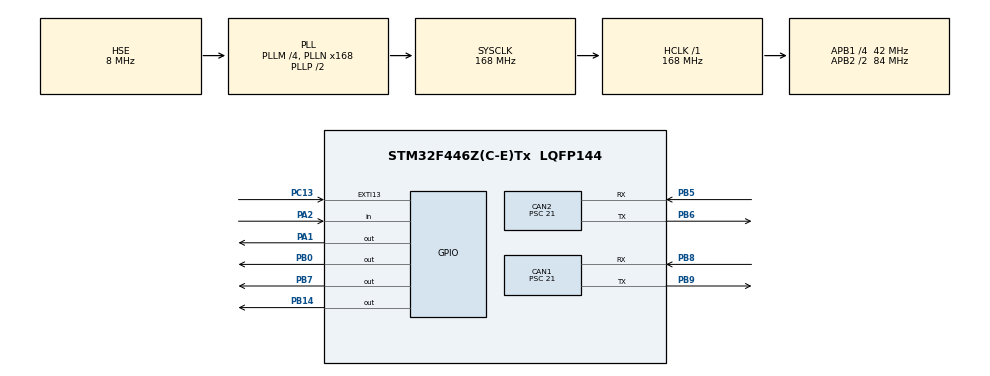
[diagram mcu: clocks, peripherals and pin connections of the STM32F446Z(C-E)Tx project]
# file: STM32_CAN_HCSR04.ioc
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CAN1.BS1=CAN_BS1_4TQ
CAN1.BS2=CAN_BS2_3TQ
CAN1.CalculateBaudRate=250000
CAN1.CalculateTimeBit=4000
CAN1.CalculateTimeQuantum=500.0
CAN1.Prescaler=21
CAN2.BS1=CAN_BS1_5TQ
CAN2.BS2=CAN_BS2_2TQ
CAN2.CalculateBaudRate=250000
CAN2.CalculateTimeBit=4000
CAN2.CalculateTimeQuantum=500.0
CAN2.Prescaler=21
Mcu.Family=STM32F4
Mcu.Name=STM32F446Z(C-E)Tx
Mcu.Package=LQFP144
NVIC.PriorityGroup=NVIC_PRIORITYGROUP_4
PA1.Signal=GPIO_Output
PA13.Mode=Serial_Wire
PA13.Signal=SYS_JTMS-SWDIO
PA14.Mode=Serial_Wire
PA14.Signal=SYS_JTCK-SWCLK
PA2.Signal=GPIO_Input
PB0.Signal=GPIO_Output
PB14.Signal=GPIO_Output
PB5.Mode=CAN_Activate
PB5.Signal=CAN2_RX
PB6.Mode=CAN_Activate
PB6.Signal=CAN2_TX
PB7.Signal=GPIO_Output
PB8.Mode=CAN_Activate
PB8.Signal=CAN1_RX
PB9.Mode=CAN_Activate
PB9.Signal=CAN1_TX
PC13.Signal=GPXTI13
PH0-OSC_IN.Mode=HSE-External-Oscillator
PH0-OSC_IN.Signal=RCC_OSC_IN
PH1-OSC_OUT.Mode=HSE-External-Oscillator
PH1-OSC_OUT.Signal=RCC_OSC_OUT
ProjectManager.HeapSize=0x200
ProjectManager.StackSize=0x400
ProjectManager.TargetToolchain=STM32CubeIDE
RCC.AHBFreq_Value=168000000
RCC.APB1CLKDivider=RCC_HCLK_DIV4
RCC.APB1Freq_Value=42000000
RCC.APB1TimFreq_Value=84000000
RCC.APB2CLKDivider=RCC_HCLK_DIV2
RCC.APB2Freq_Value=84000000
RCC.APB2TimFreq_Value=168000000
RCC.CortexFreq_Value=168000000
RCC.HCLKFreq_Value=168000000
RCC.HSE_VALUE=8000000
RCC.PLLM=4
RCC.PLLN=168
RCC.PLLSourceVirtual=RCC_PLLSOURCE_HSE
RCC.SYSCLKFreq_VALUE=168000000
RCC.SYSCLKSource=RCC_SYSCLKSOURCE_PLLCLK
RCC.USBFreq_Value=168000000
RCC.VCOOutputFreq_Value=336000000
board=custom

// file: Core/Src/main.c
/* USER CODE BEGIN Header */
/**
  ******************************************************************************
  * @file           : main.c
  * @brief          : Main program body
  ******************************************************************************
  * @attention
  *
  * Copyright (c) 2024 STMicroelectronics.
  * All rights reserved.
  *
  * This software is licensed under terms that can be found in the LICENSE file
  * in the root directory of this software component.
  * If no LICENSE file comes with this software, it is provided AS-IS.
  *
  ******************************************************************************
  */
/* USER CODE END Header */
#include "main.h"

/* USER CODE BEGIN Includes */
#include  "dwt_stm32_delay.h"

/* USER CODE END Includes */

CAN_HandleTypeDef hcan1;
CAN_HandleTypeDef hcan2;

void SystemClock_Config(void);
static void MX_GPIO_Init(void);
static void MX_CAN2_Init(void);
static void MX_CAN1_Init(void);

/* USER CODE BEGIN 0 */
CAN_TxHeaderTypeDef TxTransmitte;

uint32_t mTxMailbox;
uint32_t sensor_time;
uint32_t distance[8];
uint8_t Giden_data[8];
CAN_FilterTypeDef sFilterConfig;

uint32_t Read_HCSR04()
{
	uint32_t local_time = 0;

	HAL_GPIO_WritePin(GPIOA, GPIO_PIN_1, GPIO_PIN_SET);
	DWT_Delay_us(10);
	HAL_GPIO_WritePin(GPIOA, GPIO_PIN_1, GPIO_PIN_RESET);

	while(! (HAL_GPIO_ReadPin(GPIOA, GPIO_PIN_2)));

	while(HAL_GPIO_ReadPin(GPIOA, GPIO_PIN_2))
	{
		local_time ++;
		DWT_Delay_us(1);
	}
	return local_time * 2;
}

/* USER CODE END 0 */

int main(void)
{

  /* MCU Configuration--------------------------------------------------------*/

  /* Reset of all peripherals, Initializes the Flash interface and the Systick. */
  HAL_Init();

  /* Configure the system clock */
  SystemClock_Config();

  /* Initialize all configured peripherals */
  MX_GPIO_Init();
  MX_CAN2_Init();
  MX_CAN1_Init();
  /* USER CODE BEGIN 2 */
  HAL_CAN_Start(&hcan2);

  TxTransmitte.StdId =  0x601;
  TxTransmitte.RTR = CAN_RTR_DATA;    // Veri mesajı
  TxTransmitte.IDE = CAN_ID_STD;
  TxTransmitte.DLC = 1; // Mesaj veri uzunluğu

  DWT_Delay_Init();

  /* USER CODE END 2 */

  /* Infinite loop */
  while (1)
  {

    /* USER CODE BEGIN 3 */
	  distance[0] = 60;
	  distance[1] = 0;
	  distance[2] = 6;
	  distance[3] = 51;
	  distance[4] = 21;
	  distance[5] = 11;
	  distance[6] = 34;
	  sensor_time = Read_HCSR04();
      distance[7] = sensor_time * .034 /2;

	  HAL_CAN_AddTxMessage(&hcan2, &TxTransmitte, (uint8_t*)distance, &mTxMailbox);

//	  if(distance > 6 && distance <20)
//	 	  {
//	 		  HAL_GPIO_WritePin(GPIOB, GPIO_PIN_0, GPIO_PIN_SET);
//	 		  HAL_GPIO_WritePin(GPIOB, GPIO_PIN_7 | GPIO_PIN_14 , GPIO_PIN_RESET);
//
//	 	  }
//
//	 	  else if(distance > 20 && distance <50)
//	 	  {
//	 		  HAL_GPIO_WritePin( GPIOB, GPIO_PIN_0 | GPIO_PIN_7, GPIO_PIN_SET);
//	 		  HAL_GPIO_WritePin(GPIOB,  GPIO_PIN_14, GPIO_PIN_RESET);
//	 	  }
//
//	 	  else if(distance > 50 )
//	 	  {
//	 		  HAL_GPIO_WritePin(GPIOB, GPIO_PIN_0| GPIO_PIN_7 | GPIO_PIN_14 , GPIO_PIN_SET);
//
//	 	  }
//
//	 	  else
//	 	  {
//	 		  HAL_GPIO_WritePin(GPIOB, GPIO_PIN_0 |GPIO_PIN_7 | GPIO_PIN_14, GPIO_PIN_RESET);
//	 	  }
  }
  /* USER CODE END 3 */
}

void SystemClock_Config(void)
{
  RCC_OscInitTypeDef RCC_OscInitStruct = {0};
  RCC_ClkInitTypeDef RCC_ClkInitStruct = {0};

  /** Configure the main internal regulator output voltage
  */
  __HAL_RCC_PWR_CLK_ENABLE();
  __HAL_PWR_VOLTAGESCALING_CONFIG(PWR_REGULATOR_VOLTAGE_SCALE1);

  /** Initializes the RCC Oscillators according to the specified parameters
  * in the RCC_OscInitTypeDef structure.
  */
  RCC_OscInitStruct.OscillatorType = RCC_OSCILLATORTYPE_HSE;
  RCC_OscInitStruct.HSEState = RCC_HSE_ON;
  RCC_OscInitStruct.PLL.PLLState = RCC_PLL_ON;
  RCC_OscInitStruct.PLL.PLLSource = RCC_PLLSOURCE_HSE;
  RCC_OscInitStruct.PLL.PLLM = 4;
  RCC_OscInitStruct.PLL.PLLN = 168;
  RCC_OscInitStruct.PLL.PLLP = RCC_PLLP_DIV2;
  RCC_OscInitStruct.PLL.PLLQ = 2;
  RCC_OscInitStruct.PLL.PLLR = 2;
  if (HAL_RCC_OscConfig(&RCC_OscInitStruct) != HAL_OK)
  {
    Error_Handler();
  }

  /** Initializes the CPU, AHB and APB buses clocks
  */
  RCC_ClkInitStruct.ClockType = RCC_CLOCKTYPE_HCLK|RCC_CLOCKTYPE_SYSCLK
                              |RCC_CLOCKTYPE_PCLK1|RCC_CLOCKTYPE_PCLK2;
  RCC_ClkInitStruct.SYSCLKSource = RCC_SYSCLKSOURCE_PLLCLK;
  RCC_ClkInitStruct.AHBCLKDivider = RCC_SYSCLK_DIV1;
  RCC_ClkInitStruct.APB1CLKDivider = RCC_HCLK_DIV4;
  RCC_ClkInitStruct.APB2CLKDivider = RCC_HCLK_DIV2;

  if (HAL_RCC_ClockConfig(&RCC_ClkInitStruct, FLASH_LATENCY_5) != HAL_OK)
  {
    Error_Handler();
  }
}

static void MX_CAN1_Init(void)
{

  hcan1.Instance = CAN1;
  hcan1.Init.Prescaler = 21;
  hcan1.Init.Mode = CAN_MODE_NORMAL;
  hcan1.Init.SyncJumpWidth = CAN_SJW_1TQ;
  hcan1.Init.TimeSeg1 = CAN_BS1_4TQ;
  hcan1.Init.TimeSeg2 = CAN_BS2_3TQ;
  hcan1.Init.TimeTriggeredMode = DISABLE;
  hcan1.Init.AutoBusOff = DISABLE;
  hcan1.Init.AutoWakeUp = DISABLE;
  hcan1.Init.AutoRetransmission = DISABLE;
  hcan1.Init.ReceiveFifoLocked = DISABLE;
  hcan1.Init.TransmitFifoPriority = DISABLE;
  if (HAL_CAN_Init(&hcan1) != HAL_OK)
  {
    Error_Handler();
  }

}

static void MX_CAN2_Init(void)
{

  hcan2.Instance = CAN2;
  hcan2.Init.Prescaler = 21;
  hcan2.Init.Mode = CAN_MODE_NORMAL;
  hcan2.Init.SyncJumpWidth = CAN_SJW_1TQ;
  hcan2.Init.TimeSeg1 = CAN_BS1_5TQ;
  hcan2.Init.TimeSeg2 = CAN_BS2_2TQ;
  hcan2.Init.TimeTriggeredMode = DISABLE;
  hcan2.Init.AutoBusOff = DISABLE;
  hcan2.Init.AutoWakeUp = DISABLE;
  hcan2.Init.AutoRetransmission = DISABLE;
  hcan2.Init.ReceiveFifoLocked = DISABLE;
  hcan2.Init.TransmitFifoPriority = DISABLE;
  if (HAL_CAN_Init(&hcan2) != HAL_OK)
  {
    Error_Handler();
  }

}

static void MX_GPIO_Init(void)
{
  GPIO_InitTypeDef GPIO_InitStruct = {0};

  /* GPIO Ports Clock Enable */
  __HAL_RCC_GPIOC_CLK_ENABLE();
  __HAL_RCC_GPIOH_CLK_ENABLE();
  __HAL_RCC_GPIOA_CLK_ENABLE();
  __HAL_RCC_GPIOB_CLK_ENABLE();

  /*Configure GPIO pin Output Level */
  HAL_GPIO_WritePin(GPIOA, GPIO_PIN_1, GPIO_PIN_RESET);

  /*Configure GPIO pin Output Level */
  HAL_GPIO_WritePin(GPIOB, GPIO_PIN_0|GPIO_PIN_14|GPIO_PIN_7, GPIO_PIN_RESET);

  /*Configure GPIO pin : PC13 */
  GPIO_InitStruct.Pin = GPIO_PIN_13;
  GPIO_InitStruct.Mode = GPIO_MODE_IT_RISING;
  GPIO_InitStruct.Pull = GPIO_NOPULL;
  HAL_GPIO_Init(GPIOC, &GPIO_InitStruct);

  /*Configure GPIO pin : PA1 */
  GPIO_InitStruct.Pin = GPIO_PIN_1;
  GPIO_InitStruct.Mode = GPIO_MODE_OUTPUT_PP;
  GPIO_InitStruct.Pull = GPIO_NOPULL;
  GPIO_InitStruct.Speed = GPIO_SPEED_FREQ_LOW;
  HAL_GPIO_Init(GPIOA, &GPIO_InitStruct);

  /*Configure GPIO pin : PA2 */
  GPIO_InitStruct.Pin = GPIO_PIN_2;
  GPIO_InitStruct.Mode = GPIO_MODE_INPUT;
  GPIO_InitStruct.Pull = GPIO_NOPULL;
  HAL_GPIO_Init(GPIOA, &GPIO_InitStruct);

  /*Configure GPIO pins : PB0 PB14 PB7 */
  GPIO_InitStruct.Pin = GPIO_PIN_0|GPIO_PIN_14|GPIO_PIN_7;
  GPIO_InitStruct.Mode = GPIO_MODE_OUTPUT_PP;
  GPIO_InitStruct.Pull = GPIO_NOPULL;
  GPIO_InitStruct.Speed = GPIO_SPEED_FREQ_LOW;
  HAL_GPIO_Init(GPIOB, &GPIO_InitStruct);

}

void Error_Handler(void)
{
  __disable_irq();
  while (1)
  {
  }
}
